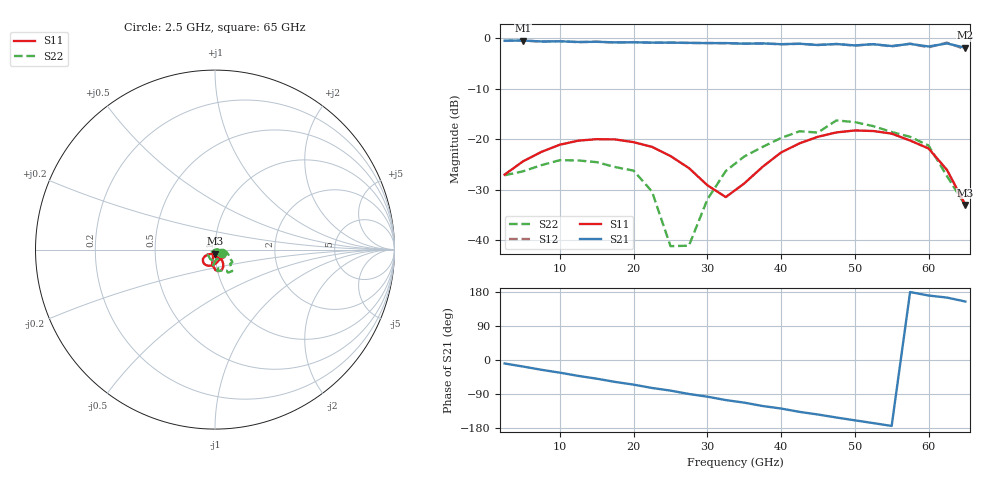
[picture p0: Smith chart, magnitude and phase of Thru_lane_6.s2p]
! File created by SignalIntegrity v1.5.1: Signal and Power Integrity Tools
! https://github.com/Nubis-Communications/SignalIntegrity
# MHz S MA R 50.0
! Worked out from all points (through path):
!   26 points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, 2.5 GHz to 65 GHz, reference 50 ohm
!   highest |S21| = -0.42 dB at 5 GHz (marker M1); lowest = -1.8 dB at 65 GHz (marker M2)
!   group delay of S21, straight-line fit = 8.67 ps
!   lowest |S11| = -33.0 dB at 65 GHz (marker M3), VSWR 1.05, Z = 49.9 - j2.22 ohm
!   |S11| at or under -10 dB: start of sweep to end of sweep
!   |S22| runs from -41.2 to -16.3 dB; largest |S21 - S12| = 0.053
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2500  0.04447 -36.2  0.9496 -9.2  0.9451 -9.3  0.04383 -25.6
5000  0.06025 -63.9  0.9529 -17.2  0.9549 -17.3  0.04796 -55.5
10000  0.08815 -97.8  0.9366 -33.4  0.9396 -33.4  0.06191 -90.5
15000  0.1 -119.9  0.9258 -49.3  0.9283 -49.3  0.05909 -117.5
20000  0.0934 -135.8  0.916 -65.0  0.919 -64.9  0.04872 -146.1
22500  0.08385 -142.9  0.9098 -73.9  0.9045 -74.1  0.03014 -140.8
25000  0.068 -146.6  0.9082 -80.8  0.9099 -80.7  0.008665 -149.8
27500  0.05163 -146.4  0.9043 -89.7  0.9007 -90.0  0.008762 6.9
30000  0.0349 -136.0  0.8986 -96.8  0.9013 -96.5  0.0252 1.0
32500  0.02661 -102.3  0.8997 -105.8  0.8963 -106.1  0.04828 -6.3
35000  0.03633 -69.3  0.8872 -112.5  0.8895 -112.3  0.0673 -12.8
37500  0.05321 -58.0  0.893 -121.4  0.8901 -121.9  0.08386 -22.6
40000  0.07379 -56.9  0.8768 -128.1  0.8764 -127.8  0.1027 -31.3
42500  0.09092 -60.0  0.8862 -136.9  0.8841 -137.6  0.1198 -35.9
45000  0.1057 -64.2  0.86 -143.8  0.8626 -143.1  0.1163 -42.9
47500  0.1167 -69.9  0.8809 -151.7  0.8801 -152.6  0.1535 -51.6
52500  0.1205 -83.0  0.877 -166.5  0.8781 -167.6  0.1347 -60.8
55000  0.1135 -89.0  0.8404 -174.0  0.8331 -173.1  0.1178 -84.3
57500  0.09693 -94.5  0.8829 179.3  0.8881 177.9  0.1056 -80.3
60000  0.08088 -101.3  0.8324 170.2  0.816 172.2  0.0865 -96.8
62500  0.04955 -103.9  0.8917 164.8  0.9087 163.2  0.04306 -72.6
65000  0.02227 -92.1  0.809 154.3  0.7784 157.5  0.0219 -32.5
